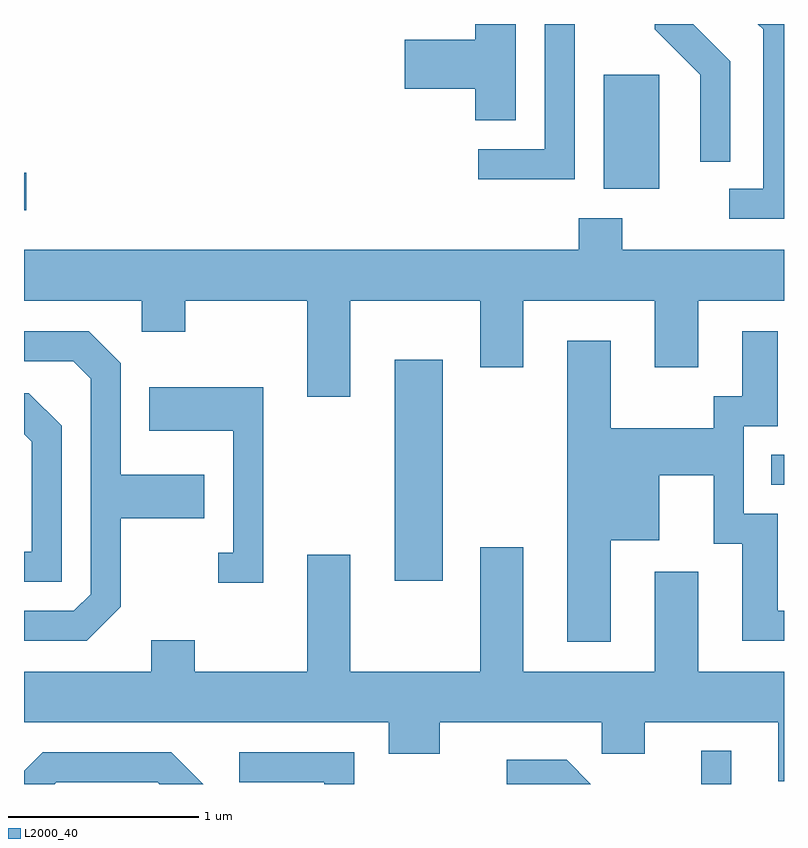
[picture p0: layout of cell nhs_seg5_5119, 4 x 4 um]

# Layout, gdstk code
import gdstk
lib = gdstk.Library(unit=1e-6, precision=1e-09)
def R(c, l, rs):  # rectangles x0, y0, x1, y1
    for r in rs: c.add(gdstk.rectangle(r[:2], r[2:], *l))
def P(c, l, *ps):  # polygons
    for p in ps: c.add(gdstk.Polygon(p, *l))
L2000_40 = (2000, 40)

nhs_seg5_5119 = lib.new_cell('nhs_seg5_5119')
R(nhs_seg5_5119, L2000_40, [(341.176,1412.072,341.334,1412.248), (339.561,1413.141,339.814,1414.304), (341.543,1413.646,341.611,1413.804), (337.611,1415.091,337.624,1415.289), (340.661,1415.206,340.954,1415.804)])
P(nhs_seg5_5119, L2000_40, [(341.329,1415.877),(341.134,1416.072),(340.931,1416.072),(340.931,1416.044),(341.171,1415.804),(341.171,1415.348),(341.329,1415.348)],
  [(340.509,1416.072),(340.351,1416.072),(340.351,1415.414),(340.003,1415.414),(340.003,1415.256),(340.509,1415.256)],
  [(341.611,1416.072),(341.473,1416.072),(341.501,1416.044),(341.501,1415.204),(341.323,1415.204),(341.323,1415.046),(341.611,1415.046)],
  [(340.199,1416.072),(339.986,1416.072),(339.986,1415.989),(339.616,1415.989),(339.616,1415.731),(339.986,1415.731),(339.986,1415.566),(340.199,1415.566)],
  [(339.329,1414.616),(340.011,1414.616),(340.011,1414.266),(340.239,1414.266),(340.239,1414.616),(340.931,1414.616),(340.931,1414.266),(341.159,1414.266),(341.159,1414.616),(341.611,1414.616),(341.611,1414.884),(340.759,1414.884),(340.759,1415.049),(340.531,1415.049),(340.531,1414.884),(337.611,1414.884),(337.611,1414.616),(338.231,1414.616),(338.231,1414.451),(338.459,1414.451),(338.459,1414.616),(339.101,1414.616),(339.101,1414.111),(339.329,1414.111)],
  [(340.699,1413.356),(340.954,1413.356),(340.954,1413.696),(341.241,1413.696),(341.241,1413.336),(341.391,1413.336),(341.391,1412.826),(341.611,1412.826),(341.611,1412.984),(341.579,1412.984),(341.579,1413.494),(341.399,1413.494),(341.399,1413.956),(341.579,1413.956),(341.579,1414.454),(341.391,1414.454),(341.391,1414.114),(341.241,1414.114),(341.241,1413.944),(340.699,1413.944),(340.699,1414.404),(340.471,1414.404),(340.471,1412.821),(340.699,1412.821)],
  [(338.119,1413.004),(338.119,1413.471),(338.559,1413.471),(338.559,1413.699),(338.119,1413.699),(338.119,1414.287),(337.952,1414.454),(337.611,1414.454),(337.611,1414.296),(337.869,1414.296),(337.961,1414.204),(337.961,1413.072),(337.874,1412.984),(337.611,1412.984),(337.611,1412.826),(337.942,1412.826)],
  [(338.869,1414.159),(338.271,1414.159),(338.271,1413.931),(338.711,1413.931),(338.711,1413.289),(338.633,1413.289),(338.633,1413.131),(338.869,1413.131)],
  [(337.809,1413.957),(337.637,1414.129),(337.611,1414.129),(337.611,1413.914),(337.651,1413.874),(337.651,1413.294),(337.611,1413.294),(337.611,1413.136),(337.809,1413.136)],
  [(341.611,1412.664),(341.159,1412.664),(341.159,1413.189),(340.931,1413.189),(340.931,1412.664),(340.239,1412.664),(340.239,1413.319),(340.011,1413.319),(340.011,1412.664),(339.329,1412.664),(339.329,1413.279),(339.101,1413.279),(339.101,1412.664),(338.509,1412.664),(338.509,1412.829),(338.281,1412.829),(338.281,1412.664),(337.611,1412.664),(337.611,1412.396),(339.531,1412.396),(339.531,1412.231),(339.799,1412.231),(339.799,1412.396),(340.651,1412.396),(340.651,1412.231),(340.879,1412.231),(340.879,1412.396),(341.581,1412.396),(341.581,1412.086),(341.611,1412.086)],
  [(337.782,1412.081),(338.314,1412.081),(338.323,1412.072),(338.554,1412.072),(338.387,1412.239),(337.709,1412.239),(337.611,1412.141),(337.611,1412.072),(337.773,1412.072)],
  [(339.349,1412.239),(338.743,1412.239),(338.743,1412.081),(339.191,1412.081),(339.191,1412.072),(339.349,1412.072)],
  [(340.467,1412.199),(340.153,1412.199),(340.153,1412.072),(340.594,1412.072)])

lib.write_gds('nhs_seg5_5119.gds')
